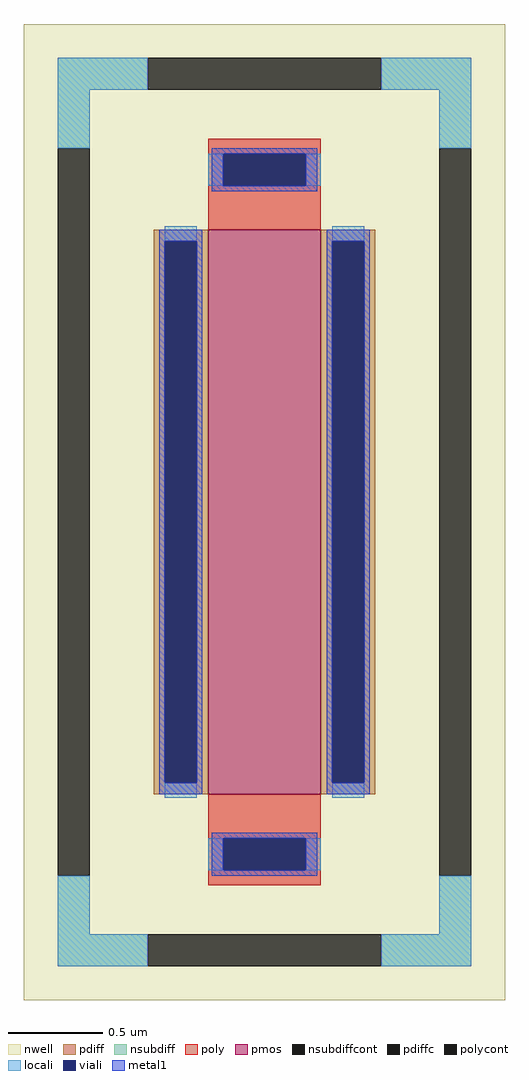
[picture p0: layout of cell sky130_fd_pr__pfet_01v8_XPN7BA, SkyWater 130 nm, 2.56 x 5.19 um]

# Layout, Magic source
magic
tech sky130A
magscale 1 2
<< nwell >>
rect -256 -519 256 519
<< pmos >>
rect -60 -300 60 300
<< pdiff >>
rect -118 288 -60 300
rect -118 -288 -106 288
rect -72 -288 -60 288
rect -118 -300 -60 -288
rect 60 288 118 300
rect 60 -288 72 288
rect 106 -288 118 288
rect 60 -300 118 -288
<< pdiffc >>
rect -106 -288 -72 288
rect 72 -288 106 288
<< nsubdiff >>
rect -220 449 -124 483
rect 124 449 220 483
rect -220 387 -186 449
rect 186 387 220 449
rect -220 -449 -186 -387
rect 186 -449 220 -387
rect -220 -483 -124 -449
rect 124 -483 220 -449
<< nsubdiffcont >>
rect -124 449 124 483
rect -220 -387 -186 387
rect 186 -387 220 387
rect -124 -483 124 -449
<< poly >>
rect -60 381 60 397
rect -60 347 -44 381
rect 44 347 60 381
rect -60 300 60 347
rect -60 -347 60 -300
rect -60 -381 -44 -347
rect 44 -381 60 -347
rect -60 -397 60 -381
<< polycont >>
rect -44 347 44 381
rect -44 -381 44 -347
<< locali >>
rect -220 449 -124 483
rect 124 449 220 483
rect -220 387 -186 449
rect 186 387 220 449
rect -60 347 -44 381
rect 44 347 60 381
rect -106 288 -72 304
rect -106 -304 -72 -288
rect 72 288 106 304
rect 72 -304 106 -288
rect -60 -381 -44 -347
rect 44 -381 60 -347
rect -220 -449 -186 -387
rect 186 -449 220 -387
rect -220 -483 -124 -449
rect 124 -483 220 -449
<< viali >>
rect -44 347 44 381
rect -106 -288 -72 288
rect 72 -288 106 288
rect -44 -381 44 -347
<< metal1 >>
rect -56 381 56 387
rect -56 347 -44 381
rect 44 347 56 381
rect -56 341 56 347
rect -112 288 -66 300
rect -112 -288 -106 288
rect -72 -288 -66 288
rect -112 -300 -66 -288
rect 66 288 112 300
rect 66 -288 72 288
rect 106 -288 112 288
rect 66 -300 112 -288
rect -56 -347 56 -341
rect -56 -381 -44 -347
rect 44 -381 56 -347
rect -56 -387 56 -381
<< properties >>
string gencell sky130_fd_pr__pfet_01v8
string FIXED_BBOX -203 -466 203 466
string parameters w 3.0 l 0.6 m 1 nf 1 diffcov 100 polycov 100 guard 1 glc 1 grc 1 gtc 1 gbc 1 tbcov 100 rlcov 100 topc 1 botc 1 poverlap 0 doverlap 1 lmin 0.15 wmin 0.42 compatible {sky130_fd_pr__pfet_01v8  sky130_fd_pr__pfet_01v8_lvt sky130_fd_pr__pfet_01v8_hvt  sky130_fd_pr__pfet_g5v0d10v5} full_metal 1 viasrc 100 viadrn 100 viagate 100 viagb 0 viagt 0 viagr 0 viagl 0
string library sky130
<< end >>
